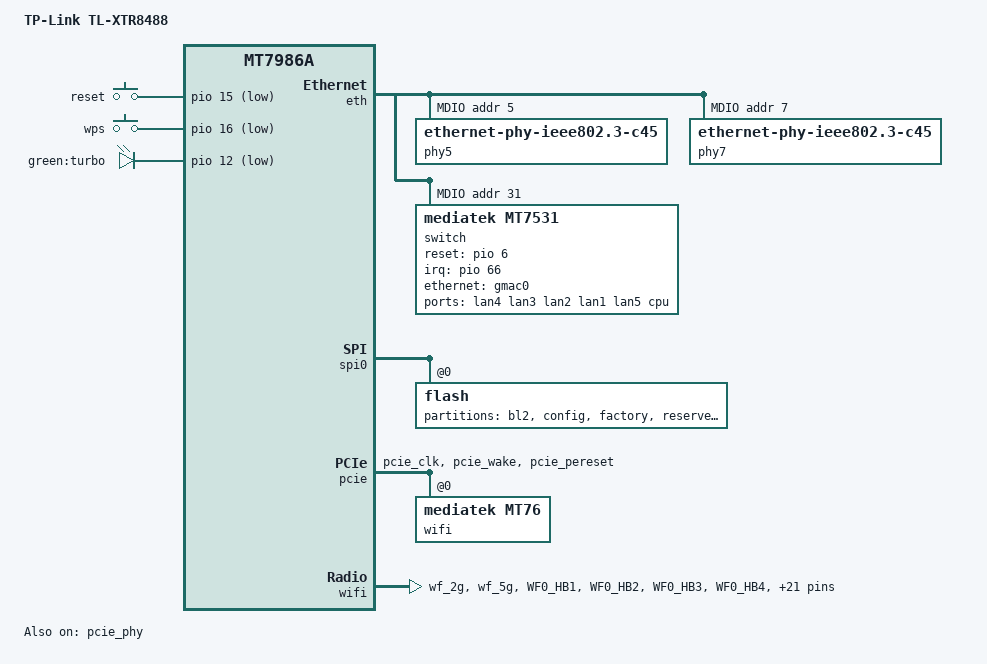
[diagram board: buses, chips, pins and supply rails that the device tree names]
// SPDX-License-Identifier: GPL-2.0-or-later OR MIT

/dts-v1/;
#include "mt7986a-tplink-tl-xdr-common.dtsi"

/ {
	model = "TP-Link TL-XTR8488";
	compatible = "tplink,tl-xtr8488";

	keys {
		reset {
			label = "reset";
			linux,code = <KEY_RESTART>;
			gpios = <&pio 15 GPIO_ACTIVE_LOW>;
		};

		wps {
			label = "wps";
			linux,code = <KEY_WPS_BUTTON>;
			gpios = <&pio 16 GPIO_ACTIVE_LOW>;
		};
	};

	leds {
		turbo {
			label = "green:turbo";
			gpios = <&pio 12 GPIO_ACTIVE_LOW>;
		};
	};
};

&eth {
	/delete-node/ mdio-bus;

	mdio: mdio-bus {
		#address-cells = <1>;
		#size-cells = <0>;

		phy5: phy@5 {
			compatible = "ethernet-phy-ieee802.3-c45";
			reg = <5>;
			realtek,aldps-enable;
			realtek,led-link-select = <0xa7 0x0 0x0>;
		};

		phy7: phy@7 {
			compatible = "ethernet-phy-ieee802.3-c45";
			reg = <7>;
			realtek,aldps-enable;
			realtek,led-link-select = <0xa7 0x0 0x0>;
		};

		switch: switch@0 {
			compatible = "mediatek,mt7531";
			reg = <31>;
			reset-gpios = <&pio 6 GPIO_ACTIVE_HIGH>;
			interrupt-controller;
			#interrupt-cells = <1>;
			interrupt-parent = <&pio>;
			interrupts = <66 IRQ_TYPE_LEVEL_HIGH>;
		};
	};
};

&switch {
	ports {
		#address-cells = <1>;
		#size-cells = <0>;

		port@0 {
			reg = <0>;
			label = "lan4";
		};

		port@1 {
			reg = <1>;
			label = "lan3";
		};

		port@2 {
			reg = <2>;
			label = "lan2";
		};

		port@3 {
			reg = <3>;
			label = "lan1";
		};

		port@5 {
			reg = <5>;
			label = "lan5";
			phy-handle = <&phy5>;
			phy-mode = "2500base-x";
		};

		port@6 {
			reg = <6>;
			label = "cpu";
			ethernet = <&gmac0>;
			phy-mode = "2500base-x";

			fixed-link {
				speed = <2500>;
				full-duplex;
				pause;
			};
		};
	};
};

&spi0 {
	flash@0 {
		/delete-node/ partitions;

		partitions {
			compatible = "fixed-partitions";
			#address-cells = <1>;
			#size-cells = <1>;

			partition@0 {
				label = "bl2";
				reg = <0x000000 0x0100000>;
				read-only;
			};

			config: partition@100000 {
				label = "config";
				reg = <0x100000 0x0040000>;
				read-only;
			};

			factory: partition@140000 {
				label = "factory";
				reg = <0x140000 0x0040000>;
				read-only;
			};

			partition@180000 {
				label = "reserved";
				reg = <0x180000 0x0180000>;
				read-only;
			};

			partition@300000 {
				label = "u-boot-env";
				reg = <0x300000 0x0080000>;
			};

			partition@380000 {
				label = "fip";
				reg = <0x380000 0x0200000>;
				read-only;
			};

			partition@580000 {
				label = "ubi";
				reg = <0x580000 0x7800000>;
			};
		};
	};
};

&pcie {
	pinctrl-names = "default";
	pinctrl-0 = <&pcie_pins>;
	status = "okay";

	pcie@0,0 {
		reg = <0x0000 0 0 0 0>;

		wifi@0,0 {
			compatible = "mediatek,mt76";
			reg = <0x0000 0 0 0 0>;
			mediatek,mtd-eeprom = <&factory 0x1000>;
			ieee80211-freq-limit = <5470000 5875000>;

			nvmem-cells = <&macaddr_config_1c 3>;
			nvmem-cell-names = "mac-address";
		};
	};
};

&pcie_phy {
	status = "okay";
};

&pio {
	pcie_pins: pcie-pins {
		mux {
			function = "pcie";
			groups = "pcie_clk", "pcie_wake", "pcie_pereset";
		};
	};

	wf_2g_5g_pins: wf_2g_5g-pins {
		mux {
			function = "wifi";
			groups = "wf_2g", "wf_5g";
		};
		conf {
			pins = "WF0_HB1", "WF0_HB2", "WF0_HB3", "WF0_HB4",
			       "WF0_HB0", "WF0_HB0_B", "WF0_HB5", "WF0_HB6",
			       "WF0_HB7", "WF0_HB8", "WF0_HB9", "WF0_HB10",
			       "WF0_TOP_CLK", "WF0_TOP_DATA", "WF1_HB1",
			       "WF1_HB2", "WF1_HB3", "WF1_HB4", "WF1_HB0",
			       "WF1_HB5", "WF1_HB6", "WF1_HB7", "WF1_HB8",
			       "WF1_TOP_CLK", "WF1_TOP_DATA";
			drive-strength = <4>;
		};
	};
};

&wifi {
	pinctrl-names = "default";
	pinctrl-0 = <&wf_2g_5g_pins>;
	ieee80211-freq-limit = <2400000 2500000>, <5170000 5350000>;
};

&config {
	nvmem-layout {
		compatible = "fixed-layout";
		#address-cells = <1>;
		#size-cells = <1>;

		macaddr_config_1c: macaddr@1c {
			compatible = "mac-base";
			reg = <0x1c 0x6>;
			#nvmem-cell-cells = <1>;
		};
	};
};
